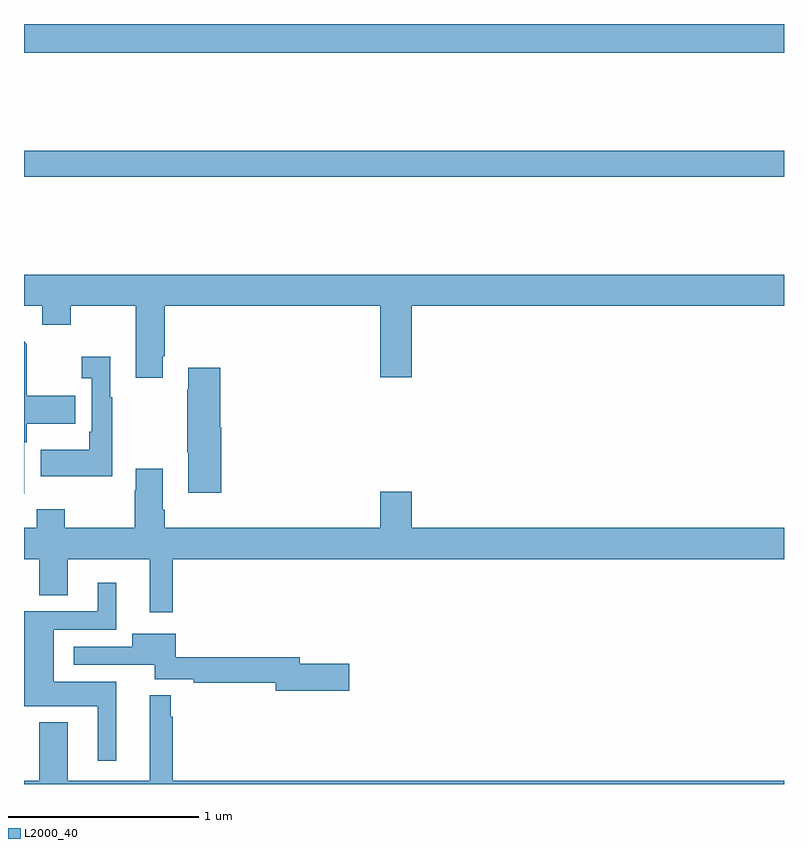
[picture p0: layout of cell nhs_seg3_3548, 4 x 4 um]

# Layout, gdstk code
import gdstk
lib = gdstk.Library(unit=1e-6, precision=1e-09)
def R(c, l, rs):  # rectangles x0, y0, x1, y1
    for r in rs: c.add(gdstk.rectangle(r[:2], r[2:], *l))
def P(c, l, *ps):  # polygons
    for p in ps: c.add(gdstk.Polygon(p, *l))
L2000_40 = (2000, 40)

nhs_seg3_3548 = lib.new_cell('nhs_seg3_3548')
R(nhs_seg3_3548, L2000_40, [(295,701.596,299,701.732), (295,702.248,299,702.4)])
P(nhs_seg3_3548, L2000_40, [(295.729,700.651),(295.742,700.651),(295.742,700.916),(296.876,700.916),(296.876,700.542),(297.04,700.542),(297.04,700.916),(299,700.916),(299,701.08),(295,701.08),(295,700.916),(295.097,700.916),(295.097,700.817),(295.245,700.817),(295.245,700.916),(295.589,700.916),(295.589,700.539),(295.729,700.539)],
  [(295.002,699.93),(295.002,700.199),(295.015,700.199),(295.015,700.295),(295.271,700.295),(295.271,700.443),(295.015,700.443),(295.015,700.715),(295,700.73),(295,699.928)],
  [(295.465,700.435),(295.453,700.435),(295.453,700.648),(295.305,700.648),(295.305,700.535),(295.356,700.535),(295.356,700.255),(295.344,700.255),(295.344,700.159),(295.087,700.159),(295.087,700.019),(295.465,700.019)],
  [(296.038,700.278),(296.033,700.278),(296.033,700.591),(295.865,700.591),(295.865,700.478),(295.858,700.478),(295.858,700.147),(295.865,700.147),(295.865,699.932),(296.038,699.932)],
  [(295.215,699.847),(295.068,699.847),(295.068,699.748),(295,699.748),(295,699.584),(295.079,699.584),(295.079,699.394),(295.231,699.394),(295.231,699.584),(295.661,699.584),(295.661,699.303),(295.783,699.303),(295.783,699.584),(299,699.584),(299,699.748),(297.04,699.748),(297.04,699.937),(296.876,699.937),(296.876,699.748),(295.742,699.748),(295.742,699.844),(295.729,699.844),(295.729,700.06),(295.589,700.06),(295.589,699.947),(295.582,699.947),(295.582,699.748),(295.215,699.748)],
  [(295.486,698.938),(295.156,698.938),(295.156,699.213),(295.486,699.213),(295.486,699.46),(295.388,699.46),(295.388,699.309),(295,699.309),(295,698.81),(295.388,698.81),(295.388,698.523),(295.486,698.523)],
  [(296.713,699.032),(296.452,699.032),(296.452,699.068),(295.798,699.068),(295.798,699.19),(295.571,699.19),(295.571,699.123),(295.263,699.123),(295.263,699.027),(295.688,699.027),(295.688,698.952),(295.894,698.952),(295.894,698.932),(296.324,698.932),(296.324,698.89),(296.713,698.89)],
  [(299,698.416),(295.783,698.416),(295.783,698.753),(295.772,698.753),(295.772,698.866),(295.661,698.866),(295.661,698.416),(295.231,698.416),(295.231,698.725),(295.079,698.725),(295.079,698.416),(295,698.416),(295,698.4),(299,698.4)])

lib.write_gds('nhs_seg3_3548.gds')
